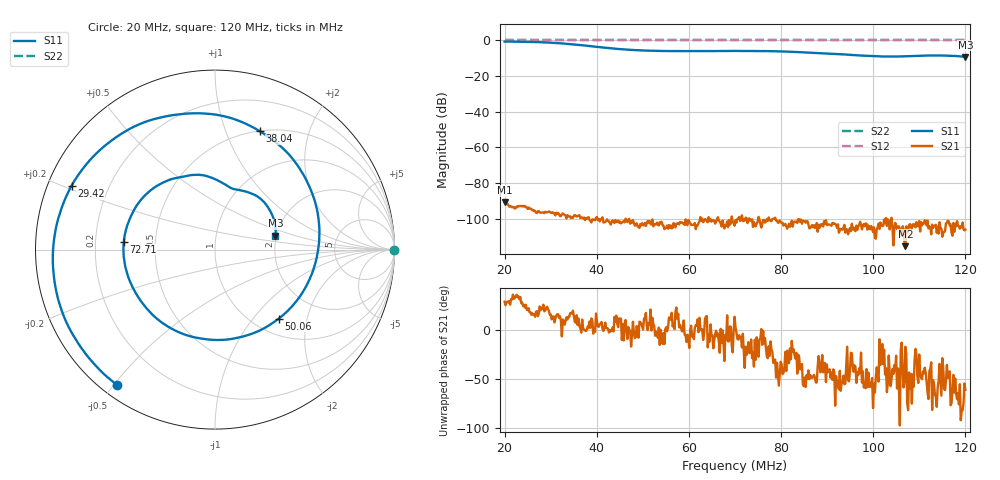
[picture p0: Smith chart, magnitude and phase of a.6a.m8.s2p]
! Anritsu VNA Master:  Model: MS2036C/10/77
! SN:  1601066
! /bd0/18may07/256.ew.m8.s2p
! Existing Calibration Information:
! TYPE:  Current Settings,  Active Cal Settings
! TIME:  05/07/2018 12:14:49 PM,  05/07/2018 12:05:13 PM
! INTERNAL TEMP:  54.5 C,  53.5 C
! # POINTS:  500,  500
! START FREQ:  20.000 MHz,  20.000 MHz
! STOP FREQ:  120.000 MHz,  120.000 MHz
! SOURCE POWER:  High,  High
! IFBW:  50 Hz,  50 Hz
! AVG FACTOR:  1 ,  1
! REF PLANE 1:  0 mm,  0 mm
! REF PLANE 2:  0 mm,  0 mm
! CAL TYPE:  Full S11,  Full S11
! CAL METHOD:  SOLT,  SOLT
! CAL LINE TYPE:  Coax,  Coax
! DUT PORT 1:  K-Conn(F),  K-Conn(F)
! DUT PORT 2:  K-Conn(F),  K-Conn(F)
! CAL STATUS:  OK: Accuracy High,  --
# GHZ S DB R 50.0
! FREQ.GHZ  S11DB  S11A  S21DB  S21A  S12DB  S12A  S22DB  S22A
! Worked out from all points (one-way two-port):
!   500 points, 20 MHz to 120 MHz, reference 50 ohm
!   highest |S21| = -90.83 dB at 20 MHz (marker M1); lowest = -115.4 dB at 107 MHz (marker M2)
!   lowest |S11| = -9.2 dB at 120 MHz (marker M3), VSWR 2.05, Z = 98.6 + j17.2 ohm
!   |S11| at or under -10 dB: nowhere
!   |S22| runs from 0.0 to 0.0 dB; largest |S21 - S12| = 1
!   S11 on the Smith chart (normalised r, x): 20 MHz: 0.05, -0.51; 29.42 MHz: 0.07, +0.21; 38.04 MHz: 0.50, +1.32; 50.06 MHz: 1.29, -1.36; 72.71 MHz: 0.32, +0.04; 120 MHz: 1.97, +0.34
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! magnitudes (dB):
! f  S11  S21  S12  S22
! 20 MHz  -0.6  -90.8  0.0  0.0
! 24.81 MHz  -0.8  -93.6  0.0  0.0
! 29.42 MHz  -1.2  -96.3  0.0  0.0
! 32.83 MHz  -1.7  -97.5  0.0  0.0
! 36.83 MHz  -2.7  -99.3  0.0  0.0
! 38.04 MHz  -3.0  -99.3  0.0  0.0
! 44.85 MHz  -4.8  -102.2  0.0  0.0
! 50.06 MHz  -5.6  -103.7  0.0  0.0
! 53.47 MHz  -5.9  -103.8  0.0  0.0
! 57.07 MHz  -6.0  -104.8  0.0  0.0
! 70.1 MHz  -5.9  -100.7  0.0  0.0
! 72.71 MHz  -5.8  -102.5  0.0  0.0
! 79.92 MHz  -6.1  -101.8  0.0  0.0
! 86.73 MHz  -6.9  -103.6  0.0  0.0
! 91.54 MHz  -7.5  -102.9  0.0  0.0
! 98.56 MHz  -8.6  -102.9  0.0  0.0
! 103.4 MHz  -9.0  -100.9  0.0  0.0
! 107 MHz  -8.9  -115.4  0.0  0.0
! 112 MHz  -8.4  -105.4  0.0  0.0
! 114.2 MHz  -8.4  -108.3  0.0  0.0
! 117.8 MHz  -8.7  -102.8  0.0  0.0
! 120 MHz  -9.2  -106.1  0.0  0.0
